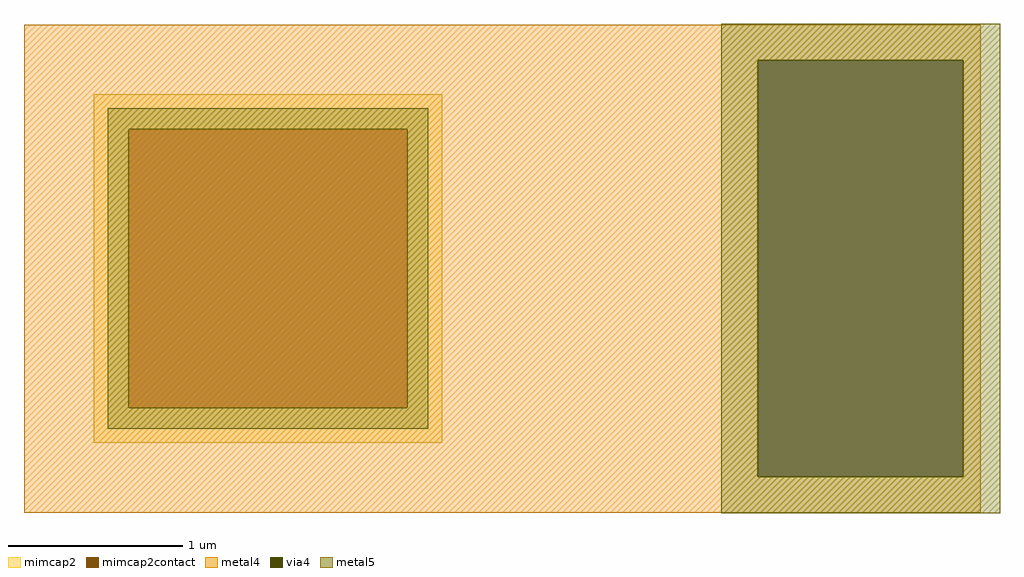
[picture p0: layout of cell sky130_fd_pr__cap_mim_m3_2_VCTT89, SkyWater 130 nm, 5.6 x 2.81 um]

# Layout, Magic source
magic
tech sky130A
magscale 1 2
<< metal4 >>
rect -549 239 549 280
rect -549 -239 293 239
rect 529 -239 549 239
rect -549 -280 549 -239
<< via4 >>
rect 293 -239 529 239
<< mimcap2 >>
rect -469 160 -69 200
rect -469 -160 -429 160
rect -109 -160 -69 160
rect -469 -200 -69 -160
<< mimcap2contact >>
rect -429 -160 -109 160
<< metal5 >>
rect 251 239 571 281
rect -453 160 -85 184
rect -453 -160 -429 160
rect -109 -160 -85 160
rect -453 -184 -85 -160
rect 251 -239 293 239
rect 529 -239 571 239
rect 251 -281 571 -239
<< properties >>
string FIXED_BBOX -549 -280 11 280
string gencell sky130_fd_pr__cap_mim_m3_2
string library sky130
string parameters w 2.0 l 2.0 val 9.52 carea 2.00 cperi 0.19 nx 1 ny 1 dummy 0 square 0 lmin 2.00 wmin 2.00 lmax 30.0 wmax 30.0 dc 0 bconnect 1 tconnect 1 ccov 100
<< end >>
